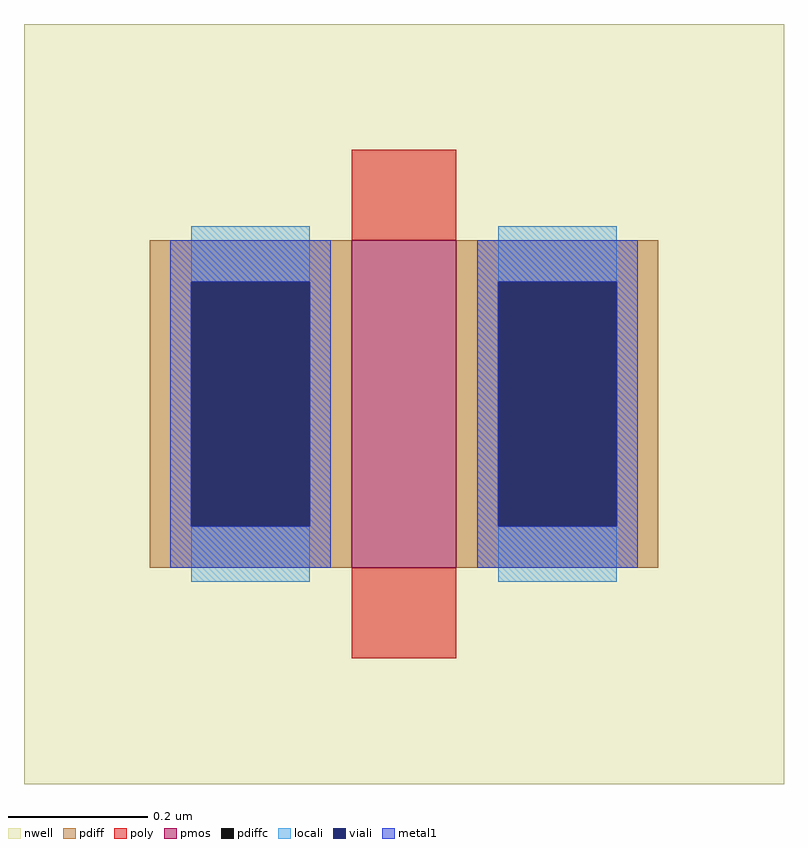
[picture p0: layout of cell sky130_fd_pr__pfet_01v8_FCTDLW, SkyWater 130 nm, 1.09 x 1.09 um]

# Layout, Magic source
magic
tech sky130A
magscale 1 2
<< nwell >>
rect -109 -109 109 109
<< pmos >>
rect -15 -47 15 47
<< pdiff >>
rect -73 35 -15 47
rect -73 -35 -61 35
rect -27 -35 -15 35
rect -73 -47 -15 -35
rect 15 35 73 47
rect 15 -35 27 35
rect 61 -35 73 35
rect 15 -47 73 -35
<< pdiffc >>
rect -61 -35 -27 35
rect 27 -35 61 35
<< poly >>
rect -15 47 15 73
rect -15 -73 15 -47
<< locali >>
rect -61 35 -27 51
rect -61 -51 -27 -35
rect 27 35 61 51
rect 27 -51 61 -35
<< viali >>
rect -61 -35 -27 35
rect 27 -35 61 35
<< metal1 >>
rect -67 35 -21 47
rect -67 -35 -61 35
rect -27 -35 -21 35
rect -67 -47 -21 -35
rect 21 35 67 47
rect 21 -35 27 35
rect 61 -35 67 35
rect 21 -47 67 -35
<< properties >>
string gencell sky130_fd_pr__pfet_01v8
string library sky130
string parameters w 0.47 l 0.15 m 1 nf 1 diffcov 100 polycov 100 guard 0 glc 1 grc 1 gtc 1 gbc 1 tbcov 100 rlcov 100 topc 0 botc 0 poverlap 0 doverlap 1 lmin 0.15 wmin 0.42 class mosfet compatible {sky130_fd_pr__pfet_01v8  sky130_fd_pr__pfet_01v8_lvt sky130_fd_pr__pfet_01v8_hvt  sky130_fd_pr__pfet_g5v0d10v5} full_metal 0 viasrc 100 viadrn 100 viagate 100 viagb 0 viagr 0 viagl 0 viagt 0
<< end >>
